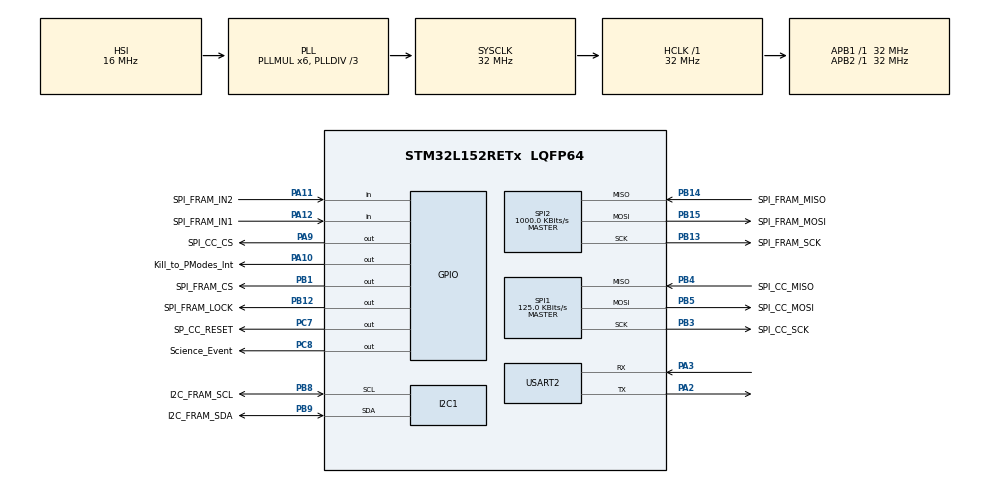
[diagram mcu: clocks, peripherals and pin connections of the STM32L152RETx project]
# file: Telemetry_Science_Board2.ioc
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Mcu.Family=STM32L1
Mcu.Name=STM32L152RETx
Mcu.Package=LQFP64
NVIC.PriorityGroup=NVIC_PRIORITYGROUP_0
PA10.GPIO_Label=Kill_to_PModes_Int
PA10.Signal=GPIO_Output
PA11.GPIO_Label=SPI_FRAM_IN2
PA11.Signal=GPIO_Input
PA12.GPIO_Label=SPI_FRAM_IN1
PA12.Signal=GPIO_Input
PA2.Mode=Asynchronous
PA2.Signal=USART2_TX
PA3.Mode=Asynchronous
PA3.Signal=USART2_RX
PA9.GPIO_Label=SPI_CC_CS
PA9.Signal=GPIO_Output
PB1.GPIO_Label=SPI_FRAM_CS
PB1.Signal=GPIO_Output
PB12.GPIO_Label=SPI_FRAM_LOCK
PB12.Signal=GPIO_Output
PB13.GPIO_Label=SPI_FRAM_SCK
PB13.Mode=Full_Duplex_Master
PB13.Signal=SPI2_SCK
PB14.GPIO_Label=SPI_FRAM_MISO
PB14.Mode=Full_Duplex_Master
PB14.Signal=SPI2_MISO
PB15.GPIO_Label=SPI_FRAM_MOSI
PB15.Mode=Full_Duplex_Master
PB15.Signal=SPI2_MOSI
PB3.GPIO_Label=SPI_CC_SCK
PB3.Mode=Full_Duplex_Master
PB3.Signal=SPI1_SCK
PB4.GPIO_Label=SPI_CC_MISO
PB4.Mode=Full_Duplex_Master
PB4.Signal=SPI1_MISO
PB5.GPIO_Label=SPI_CC_MOSI
PB5.Mode=Full_Duplex_Master
PB5.Signal=SPI1_MOSI
PB8.GPIO_Label=I2C_FRAM_SCL
PB8.Mode=I2C
PB8.Signal=I2C1_SCL
PB9.GPIO_Label=I2C_FRAM_SDA
PB9.Mode=I2C
PB9.Signal=I2C1_SDA
PC7.GPIO_Label=SP_CC_RESET
PC7.Signal=GPIO_Output
PC8.GPIO_Label=Science_Event
PC8.Signal=GPIO_Output
ProjectManager.HeapSize=0x200
ProjectManager.StackSize=0x400
ProjectManager.TargetToolchain=MDK-ARM V5
RCC.48MHZClocksFreq_Value=48000000
RCC.AHBFreq_Value=32000000
RCC.APB1Freq_Value=32000000
RCC.APB1TimFreq_Value=32000000
RCC.APB2Freq_Value=32000000
RCC.APB2TimFreq_Value=32000000
RCC.HCLKFreq_Value=32000000
RCC.HSE_VALUE=8000000
RCC.HSI_VALUE=16000000
RCC.LSE_VALUE=32768
RCC.MSI_VALUE=2097000
RCC.PLLDIV=RCC_PLL_DIV3
RCC.PLLMUL=RCC_PLL_MUL6
RCC.RTCClockSelectionVirtual=RCC_RTCCLKSOURCE_LSE
RCC.SYSCLKFreq_VALUE=32000000
RCC.SYSCLKSource=RCC_SYSCLKSOURCE_PLLCLK
RCC.USBOutput=48000000
RCC.VCOOutputFreq_Value=96000000
SPI1.BaudRatePrescaler=SPI_BAUDRATEPRESCALER_256
SPI1.CalculateBaudRate=125.0 KBits/s
SPI1.Direction=SPI_DIRECTION_2LINES
SPI1.Mode=SPI_MODE_MASTER
SPI1.VirtualType=VM_MASTER
SPI2.BaudRatePrescaler=SPI_BAUDRATEPRESCALER_32
SPI2.CalculateBaudRate=1000.0 KBits/s
SPI2.Direction=SPI_DIRECTION_2LINES
SPI2.Mode=SPI_MODE_MASTER
SPI2.VirtualType=VM_MASTER
USART2.VirtualMode=VM_ASYNC
board=NUCLEO-L152RE

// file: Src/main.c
/* USER CODE BEGIN Header */
/**
  ******************************************************************************
  * @file           : main.c
  * @brief          : Main program body
  ******************************************************************************
  ** This notice applies to any and all portions of this file
  * that are not between comment pairs USER CODE BEGIN and
  * USER CODE END. Other portions of this file, whether
  * inserted by the user or by software development tools
  * are owned by their respective copyright owners.
  *
  * COPYRIGHT(c) 2019 STMicroelectronics
  *
  * Redistribution and use in source and binary forms, with or without modification,
  * are permitted provided that the following conditions are met:
  *   1. Redistributions of source code must retain the above copyright notice,
  *      this list of conditions and the following disclaimer.
  *   2. Redistributions in binary form must reproduce the above copyright notice,
  *      this list of conditions and the following disclaimer in the documentation
  *      and/or other materials provided with the distribution.
  *   3. Neither the name of STMicroelectronics nor the names of its contributors
  *      may be used to endorse or promote products derived from this software
  *      without specific prior written permission.
  *
  * THIS SOFTWARE IS PROVIDED BY THE COPYRIGHT HOLDERS AND CONTRIBUTORS "AS IS"
  * AND ANY EXPRESS OR IMPLIED WARRANTIES, INCLUDING, BUT NOT LIMITED TO, THE
  * IMPLIED WARRANTIES OF MERCHANTABILITY AND FITNESS FOR A PARTICULAR PURPOSE ARE
  * DISCLAIMED. IN NO EVENT SHALL THE COPYRIGHT HOLDER OR CONTRIBUTORS BE LIABLE
  * FOR ANY DIRECT, INDIRECT, INCIDENTAL, SPECIAL, EXEMPLARY, OR CONSEQUENTIAL
  * DAMAGES (INCLUDING, BUT NOT LIMITED TO, PROCUREMENT OF SUBSTITUTE GOODS OR
  * SERVICES; LOSS OF USE, DATA, OR PROFITS; OR BUSINESS INTERRUPTION) HOWEVER
  * CAUSED AND ON ANY THEORY OF LIABILITY, WHETHER IN CONTRACT, STRICT LIABILITY,
  * OR TORT (INCLUDING NEGLIGENCE OR OTHERWISE) ARISING IN ANY WAY OUT OF THE USE
  * OF THIS SOFTWARE, EVEN IF ADVISED OF THE POSSIBILITY OF SUCH DAMAGE.
  *
  ******************************************************************************
  */
/* USER CODE END Header */

#include "main.h"

/* USER CODE BEGIN Includes */
#include "string.h"
#include "CC1200_SPI_functions.h"
#include "FRAM_Lib.h"
#include "FRAM_Tests.h"
#include "Telemetry_Packet_Protocol.h"
#include "SPI_FRAM.h"
//#include "DateConversion.h"

/* USER CODE END Includes */

/* USER CODE BEGIN PTD */
/* Define states and system function variables */
typedef enum States {Fetch, Decode, Science_Time, Science_Location} States;

/* USER CODE END PTD */

/* USER CODE BEGIN PD */
#define SUCCESS (1)
#define FAIL 		(0)
/* USER CODE END PD */

I2C_HandleTypeDef hi2c1;

SPI_HandleTypeDef hspi1;
SPI_HandleTypeDef hspi2;

UART_HandleTypeDef huart2;

/* USER CODE BEGIN PV */
uint8_t Poll_Receive_Packet(SPI_HandleTypeDef *hspi, UART_HandleTypeDef *huart);
uint8_t Poll_FRAM_Location(SPI_HandleTypeDef *hspi, UART_HandleTypeDef *huart);
uint8_t Poll_FRAM_Time(SPI_HandleTypeDef *hspi, UART_HandleTypeDef *huart);

void Log_Science_Data(I2C_HandleTypeDef *hi2c, UART_HandleTypeDef *huart);
/* USER CODE END PV */

void SystemClock_Config(void);
static void MX_GPIO_Init(void);
static void MX_USART2_UART_Init(void);
static void MX_SPI1_Init(void);
static void MX_SPI2_Init(void);
static void MX_I2C1_Init(void);

int main(void)
{

  /* MCU Configuration--------------------------------------------------------*/

  /* Reset of all peripherals, Initializes the Flash interface and the Systick. */
  HAL_Init();

  /* Configure the system clock */
  SystemClock_Config();

  /* Initialize all configured peripherals */
  MX_GPIO_Init();
  MX_USART2_UART_Init();
  MX_SPI1_Init();
  MX_SPI2_Init();
  MX_I2C1_Init();
  /* USER CODE BEGIN 2 */

	// Initialize the initial state
	States state;
	state = Fetch;

	char msg1[100] = {0};
	char msg2[100] = {0};

	snprintf((char *)msg1, 100, "\n\n-----Start the test-----\n\n");
	HAL_UART_Transmit(&huart2, (uint8_t *) msg1, sizeof(msg1), 10);

	/* Initialization code goes here */
	//Set CS high
	HAL_GPIO_WritePin(GPIOA, SPI_CC_CS_Pin, GPIO_PIN_SET);
	SPI_FRAM_Init(&hspi1);

	//Set reset high, low, high to begin
	HAL_GPIO_WritePin(SP_CC_RESET_GPIO_Port, SP_CC_RESET_Pin, GPIO_PIN_SET);
	HAL_Delay(100);
	HAL_GPIO_WritePin(SP_CC_RESET_GPIO_Port, SP_CC_RESET_Pin, GPIO_PIN_RESET);
	HAL_Delay(100);
	HAL_GPIO_WritePin(SP_CC_RESET_GPIO_Port, SP_CC_RESET_Pin, GPIO_PIN_SET);
	HAL_Delay(100);

	uint8_t readValue;

	readValue = ReadWriteCommandReg(&hspi1, CC1200_SNOP); // Check the state of the CC1200
	memcpy(msg1, msg2, 100);
	snprintf((char *)msg1, 100, "\nState of the CC1200: 0x%02x\n", readValue);
	HAL_UART_Transmit(&huart2, (uint8_t *) msg1, sizeof(msg1), 10);

	// Initialize the I2C FRAM
	//Wipe_Memory(&hi2c1, 0, 1);
	//Wipe_Memory(&hi2c1, 1, 1);

	FRAM_IO_Init(&hi2c1);
	FRAM_Write_Headers(&hi2c1);

	CC1200_INIT(&hspi1);
	//ReadWriteCommandReg(&hspi1, CC1200_SFTX); // Flush RX FIFO
	ReadWriteCommandReg(&hspi1, CC1200_SFRX); // Flush RX FIFO
	ReadWriteCommandReg(&hspi1, CC1200_SRX);  // Enter receive mode

	do
	{
		readValue = ReadWriteCommandReg(&hspi1, CC1200_SNOP); // Check the state of the CC1200

		HAL_Delay(500);
		memcpy(msg1, msg2, 100);
		snprintf((char *)msg1, 100, "\nState of the CC1200: 0x%02x\n", readValue);
		HAL_UART_Transmit(&huart2, (uint8_t *) msg1, sizeof(msg1), 10);

		ReadWriteCommandReg(&hspi1, CC1200_SRX);
		HAL_Delay(10);
	} while ((readValue & 0x10) != 0x10);

	uint8_t packet[FIXED_PACK_SIZE] = {0};
	state = Fetch;

  /* USER CODE END 2 */

  /* Infinite loop */
  /* USER CODE BEGIN WHILE */
  while (1)
  {
		memcpy(msg1, msg2, 100);
		snprintf((char *)msg1, 100, "\nState: 0x%02x\n", state);
		HAL_UART_Transmit(&huart2, (uint8_t *) msg1, sizeof(msg1), 10);
		switch (state)
		{
			/* Fetch a packet, location data, or science events mode */
			case (Fetch):
				// Poll buffers and FRAM to check if an event has occurred
				if 			(Poll_Receive_Packet(&hspi1, &huart2) == SUCCESS) // Poll for if a packet is received
				{
					state = Decode;
				}
				else if (Poll_FRAM_Location(&hspi2, &huart2) == SUCCESS) // Poll the location of the CubeSat to check if we are over the equator
				{
					state = Science_Location;
				}
				else if (Poll_FRAM_Time(&hspi2, &huart2) == SUCCESS) // Poll the the log event for a certain time
				{
					state = Science_Time;
				}
				else
				{
					state = Fetch;
				}
				HAL_Delay(1500); // Poll every 1.5 seconds, implement using sleep mode in the future or add a timer
				break;
			/* Decode a packet and respond accordingly mode */
			case (Decode):

				// Get the packet in the RX FIFO
				for (int i = 0; i < FIXED_PACK_SIZE; i++)
				{
					packet[i] = 0;
					packet[i] = ReadWriteExtendedReg(&hspi1, CC1200_READ_BIT, CC1200_RXFIFO, 0);
				}
				memcpy(msg1, msg2, 100);
				snprintf((char *)msg1, 100, "\nPacket: 0x%02x 0x%02x 0x%02x 0x%02x 0x%02x 0x%02x\n", packet[0], packet[1], packet[2], packet[3], packet[4], packet[5]);
				HAL_UART_Transmit(&huart2, (uint8_t *) msg1, sizeof(msg1), 10);

				// Decode the packet and take action based on the packet
				Decode_Sat_Packet(packet, &hspi1, &huart2, &hspi2, &hi2c1);

				state = Fetch;
				ReadWriteCommandReg(&hspi1, CC1200_SFRX); // Flush RX FIFO
				ReadWriteCommandReg(&hspi1, CC1200_SRX);
				break;
			/* Log science data based on time mode */
			case (Science_Time):
				// Signal to the power modes to turn on the science payload system
				HAL_GPIO_WritePin(Science_Event_GPIO_Port, Science_Event_Pin, GPIO_PIN_SET);
				// Generate fake data and store it to the I2C FRAM
				Log_Science_Data(&hi2c1, &huart2);
				HAL_GPIO_WritePin(Science_Event_GPIO_Port, Science_Event_Pin, GPIO_PIN_RESET);
				state = Fetch;
				break;
			/* Log science data based on location mode */
			case (Science_Location):
				// Signal to the power modes to turn on the science payload system
				HAL_GPIO_WritePin(Science_Event_GPIO_Port, Science_Event_Pin, GPIO_PIN_SET);
				// Generate fake data and store it to the I2C FRAM
				Log_Science_Data(&hi2c1, &huart2);
				HAL_GPIO_WritePin(Science_Event_GPIO_Port, Science_Event_Pin, GPIO_PIN_RESET);
				state = Fetch;
				break;
			/* An error occurred */
			default:
				fprintf(stderr, "\nInvalid state in the state machine reached...\nExiting\n");
		}
    /* USER CODE END WHILE */

  }
}

void SystemClock_Config(void)
{
  RCC_OscInitTypeDef RCC_OscInitStruct = {0};
  RCC_ClkInitTypeDef RCC_ClkInitStruct = {0};

  /** Configure the main internal regulator output voltage
  */
  __HAL_PWR_VOLTAGESCALING_CONFIG(PWR_REGULATOR_VOLTAGE_SCALE1);
  /** Initializes the CPU, AHB and APB busses clocks
  */
  RCC_OscInitStruct.OscillatorType = RCC_OSCILLATORTYPE_HSI;
  RCC_OscInitStruct.HSIState = RCC_HSI_ON;
  RCC_OscInitStruct.HSICalibrationValue = RCC_HSICALIBRATION_DEFAULT;
  RCC_OscInitStruct.PLL.PLLState = RCC_PLL_ON;
  RCC_OscInitStruct.PLL.PLLSource = RCC_PLLSOURCE_HSI;
  RCC_OscInitStruct.PLL.PLLMUL = RCC_PLL_MUL6;
  RCC_OscInitStruct.PLL.PLLDIV = RCC_PLL_DIV3;
  if (HAL_RCC_OscConfig(&RCC_OscInitStruct) != HAL_OK)
  {
    Error_Handler();
  }
  /** Initializes the CPU, AHB and APB busses clocks
  */
  RCC_ClkInitStruct.ClockType = RCC_CLOCKTYPE_HCLK|RCC_CLOCKTYPE_SYSCLK
                              |RCC_CLOCKTYPE_PCLK1|RCC_CLOCKTYPE_PCLK2;
  RCC_ClkInitStruct.SYSCLKSource = RCC_SYSCLKSOURCE_PLLCLK;
  RCC_ClkInitStruct.AHBCLKDivider = RCC_SYSCLK_DIV1;
  RCC_ClkInitStruct.APB1CLKDivider = RCC_HCLK_DIV1;
  RCC_ClkInitStruct.APB2CLKDivider = RCC_HCLK_DIV1;

  if (HAL_RCC_ClockConfig(&RCC_ClkInitStruct, FLASH_LATENCY_1) != HAL_OK)
  {
    Error_Handler();
  }
}

static void MX_I2C1_Init(void)
{

  hi2c1.Instance = I2C1;
  hi2c1.Init.ClockSpeed = 100000;
  hi2c1.Init.DutyCycle = I2C_DUTYCYCLE_2;
  hi2c1.Init.OwnAddress1 = 0;
  hi2c1.Init.AddressingMode = I2C_ADDRESSINGMODE_7BIT;
  hi2c1.Init.DualAddressMode = I2C_DUALADDRESS_DISABLE;
  hi2c1.Init.OwnAddress2 = 0;
  hi2c1.Init.GeneralCallMode = I2C_GENERALCALL_DISABLE;
  hi2c1.Init.NoStretchMode = I2C_NOSTRETCH_DISABLE;
  if (HAL_I2C_Init(&hi2c1) != HAL_OK)
  {
    Error_Handler();
  }

}

static void MX_SPI1_Init(void)
{

  /* SPI1 parameter configuration*/
  hspi1.Instance = SPI1;
  hspi1.Init.Mode = SPI_MODE_MASTER;
  hspi1.Init.Direction = SPI_DIRECTION_2LINES;
  hspi1.Init.DataSize = SPI_DATASIZE_8BIT;
  hspi1.Init.CLKPolarity = SPI_POLARITY_LOW;
  hspi1.Init.CLKPhase = SPI_PHASE_1EDGE;
  hspi1.Init.NSS = SPI_NSS_SOFT;
  hspi1.Init.BaudRatePrescaler = SPI_BAUDRATEPRESCALER_256;
  hspi1.Init.FirstBit = SPI_FIRSTBIT_MSB;
  hspi1.Init.TIMode = SPI_TIMODE_DISABLE;
  hspi1.Init.CRCCalculation = SPI_CRCCALCULATION_DISABLE;
  hspi1.Init.CRCPolynomial = 10;
  if (HAL_SPI_Init(&hspi1) != HAL_OK)
  {
    Error_Handler();
  }

}

static void MX_SPI2_Init(void)
{

  /* SPI2 parameter configuration*/
  hspi2.Instance = SPI2;
  hspi2.Init.Mode = SPI_MODE_MASTER;
  hspi2.Init.Direction = SPI_DIRECTION_2LINES;
  hspi2.Init.DataSize = SPI_DATASIZE_8BIT;
  hspi2.Init.CLKPolarity = SPI_POLARITY_LOW;
  hspi2.Init.CLKPhase = SPI_PHASE_1EDGE;
  hspi2.Init.NSS = SPI_NSS_SOFT;
  hspi2.Init.BaudRatePrescaler = SPI_BAUDRATEPRESCALER_32;
  hspi2.Init.FirstBit = SPI_FIRSTBIT_MSB;
  hspi2.Init.TIMode = SPI_TIMODE_DISABLE;
  hspi2.Init.CRCCalculation = SPI_CRCCALCULATION_DISABLE;
  hspi2.Init.CRCPolynomial = 10;
  if (HAL_SPI_Init(&hspi2) != HAL_OK)
  {
    Error_Handler();
  }

}

static void MX_USART2_UART_Init(void)
{

  huart2.Instance = USART2;
  huart2.Init.BaudRate = 115200;
  huart2.Init.WordLength = UART_WORDLENGTH_8B;
  huart2.Init.StopBits = UART_STOPBITS_1;
  huart2.Init.Parity = UART_PARITY_NONE;
  huart2.Init.Mode = UART_MODE_TX_RX;
  huart2.Init.HwFlowCtl = UART_HWCONTROL_NONE;
  huart2.Init.OverSampling = UART_OVERSAMPLING_16;
  if (HAL_UART_Init(&huart2) != HAL_OK)
  {
    Error_Handler();
  }

}

static void MX_GPIO_Init(void)
{
  GPIO_InitTypeDef GPIO_InitStruct = {0};

  /* GPIO Ports Clock Enable */
  __HAL_RCC_GPIOA_CLK_ENABLE();
  __HAL_RCC_GPIOB_CLK_ENABLE();
  __HAL_RCC_GPIOC_CLK_ENABLE();

  /*Configure GPIO pin Output Level */
  HAL_GPIO_WritePin(GPIOB, SPI_FRAM_CS_Pin|SPI_FRAM_LOCK_Pin, GPIO_PIN_RESET);

  /*Configure GPIO pin Output Level */
  HAL_GPIO_WritePin(GPIOC, SP_CC_RESET_Pin|Science_Event_Pin, GPIO_PIN_RESET);

  /*Configure GPIO pin Output Level */
  HAL_GPIO_WritePin(GPIOA, SPI_CC_CS_Pin|Kill_to_PModes_Int_Pin, GPIO_PIN_RESET);

  /*Configure GPIO pins : SPI_FRAM_CS_Pin SPI_FRAM_LOCK_Pin */
  GPIO_InitStruct.Pin = SPI_FRAM_CS_Pin|SPI_FRAM_LOCK_Pin;
  GPIO_InitStruct.Mode = GPIO_MODE_OUTPUT_PP;
  GPIO_InitStruct.Pull = GPIO_NOPULL;
  GPIO_InitStruct.Speed = GPIO_SPEED_FREQ_LOW;
  HAL_GPIO_Init(GPIOB, &GPIO_InitStruct);

  /*Configure GPIO pins : SP_CC_RESET_Pin Science_Event_Pin */
  GPIO_InitStruct.Pin = SP_CC_RESET_Pin|Science_Event_Pin;
  GPIO_InitStruct.Mode = GPIO_MODE_OUTPUT_PP;
  GPIO_InitStruct.Pull = GPIO_NOPULL;
  GPIO_InitStruct.Speed = GPIO_SPEED_FREQ_LOW;
  HAL_GPIO_Init(GPIOC, &GPIO_InitStruct);

  /*Configure GPIO pins : SPI_CC_CS_Pin Kill_to_PModes_Int_Pin */
  GPIO_InitStruct.Pin = SPI_CC_CS_Pin|Kill_to_PModes_Int_Pin;
  GPIO_InitStruct.Mode = GPIO_MODE_OUTPUT_PP;
  GPIO_InitStruct.Pull = GPIO_NOPULL;
  GPIO_InitStruct.Speed = GPIO_SPEED_FREQ_LOW;
  HAL_GPIO_Init(GPIOA, &GPIO_InitStruct);

  /*Configure GPIO pins : SPI_FRAM_IN2_Pin SPI_FRAM_IN1_Pin */
  GPIO_InitStruct.Pin = SPI_FRAM_IN2_Pin|SPI_FRAM_IN1_Pin;
  GPIO_InitStruct.Mode = GPIO_MODE_INPUT;
  GPIO_InitStruct.Pull = GPIO_NOPULL;
  HAL_GPIO_Init(GPIOA, &GPIO_InitStruct);

}

/* USER CODE BEGIN 4 */
// Poll the receive buffer to check if a packet was received
uint8_t Poll_Receive_Packet(SPI_HandleTypeDef *hspi, UART_HandleTypeDef *huart)
{
	// Check the state of the chip in the event that an error occurred
	uint8_t readValue = ReadWriteCommandReg(hspi, CC1200_SNOP);
	HAL_Delay(8);

	if ((readValue & 0x60) == 0x60) // Flush if FIFO error
	{
		ReadWriteCommandReg(hspi, CC1200_SFRX);
		HAL_Delay(10);
	}

	if ((readValue & 0x10) != 0x10) // Re-enter transmit mode if there was a FIFO error
	{
		ReadWriteCommandReg(hspi, CC1200_SRX);
	}

	// Poll the receive buffer
	uint8_t rxBytes = ReadWriteExtendedReg (hspi, CC1200_READ_BIT, CC1200_NUM_RXBYTES, 0);

	// Debugging
	readValue = ReadWriteCommandReg(hspi, CC1200_SNOP);
	char msg1[100] = {0};
	snprintf((char *)msg1, 100, "\n\nNumber of bytes in the receive buffer: 0x%02x    State of CC1200: 0x%02x\r\n", rxBytes, readValue);
	HAL_UART_Transmit(&huart2, (uint8_t *) msg1, sizeof(msg1), 10);

	if (rxBytes <= FIXED_PACK_SIZE)
	{
		return FAIL;
	}
	else
	{
		return SUCCESS;
	}
}

// Poll the housekeeping FRAM to check the location of the CubeSat
uint8_t Poll_FRAM_Location(SPI_HandleTypeDef *hspi, UART_HandleTypeDef *huart)
{
	// Write code here that would access the shared SPI FRAM and get if a science event should be logged based on location
	uint8_t longitudeBytes[4] = {0};
	SPI_FRAM_Read(hspi, SPI_FRAM_LONGITUDE_ADDR, longitudeBytes, 4, huart, 0);

	float longitude = bytes_to_float(longitudeBytes);
	if (longitude < 15.0 && longitude > -15.0)
	{
		return SUCCESS;
	}
	return FAIL;
}

// Poll the housekeeping FRAM to check the if it is time to log a science event
uint8_t Poll_FRAM_Time(SPI_HandleTypeDef *hspi, UART_HandleTypeDef *huart)
{
	// Write code here that would access the shared SPI FRAM and get if a science event should be logged based on time
	// Needs to be completed by next years team. For now, this will just log data every 90 seconds.
	static int i = 0;
	if ((i++ % 30) == 20)
	{
		return SUCCESS;
	}
	return FAIL;
}

void Log_Science_Data(I2C_HandleTypeDef *hi2c, UART_HandleTypeDef *huart)
{
	static uint32_t time;
	uint8_t energy;

	struct ScienceDataPackage fakeDataPoint;

	for (int i = 0; i < 500; i++)
	{
		// Generate test data points
		GenerateTestData(&energy, &time);
		// Build data into a package
		FRAM_Data_Builder(&fakeDataPoint, time, energy);
		// Write the data point into the FRAM
		FRAM_IO_Write(hi2c, &fakeDataPoint, huart);
	}

}

/* USER CODE END 4 */

void Error_Handler(void)
{
}

/************************ (C) COPYRIGHT STMicroelectronics *****END OF FILE****/
